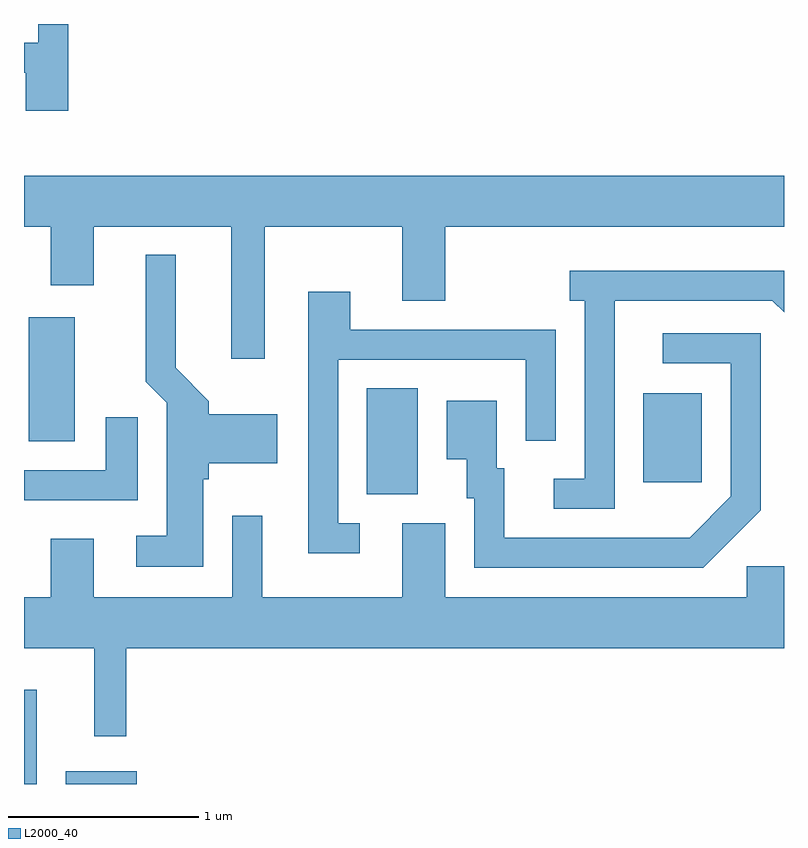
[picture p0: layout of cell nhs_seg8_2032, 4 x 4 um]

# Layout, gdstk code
import gdstk
lib = gdstk.Library(unit=1e-6, precision=1e-09)
def R(c, l, rs):  # rectangles x0, y0, x1, y1
    for r in rs: c.add(gdstk.rectangle(r[:2], r[2:], *l))
def P(c, l, *ps):  # polygons
    for p in ps: c.add(gdstk.Polygon(p, *l))
L2000_40 = (2000, 40)

nhs_seg8_2032 = lib.new_cell('nhs_seg8_2032')
R(nhs_seg8_2032, L2000_40, [(245.611,1862.342,245.679,1862.838), (245.831,1862.342,246.204,1862.409), (247.416,1863.866,247.684,1864.424), (248.871,1863.931,249.179,1864.399), (245.636,1864.146,245.879,1864.799)])
P(nhs_seg8_2032, L2000_40, [(245.844,1866.342),(245.686,1866.342),(245.686,1866.244),(245.611,1866.244),(245.611,1866.086),(245.621,1866.086),(245.621,1865.886),(245.844,1865.886)],
  [(246.879,1865.276),(247.601,1865.276),(247.601,1864.886),(247.829,1864.886),(247.829,1865.276),(249.611,1865.276),(249.611,1865.544),(245.611,1865.544),(245.611,1865.276),(245.751,1865.276),(245.751,1864.966),(245.979,1864.966),(245.979,1865.276),(246.701,1865.276),(246.701,1864.581),(246.879,1864.581)],
  [(246.554,1863.946),(246.584,1863.946),(246.584,1864.031),(246.944,1864.031),(246.944,1864.289),(246.584,1864.289),(246.584,1864.357),(246.409,1864.532),(246.409,1865.128),(246.251,1865.128),(246.251,1864.459),(246.361,1864.349),(246.361,1863.649),(246.203,1863.649),(246.203,1863.486),(246.554,1863.486)],
  [(248.719,1864.886),(249.549,1864.886),(249.611,1864.824),(249.611,1865.044),(248.483,1865.044),(248.483,1864.886),(248.561,1864.886),(248.561,1863.949),(248.398,1863.949),(248.398,1863.791),(248.719,1863.791)],
  [(247.378,1863.714),(247.264,1863.714),(247.264,1864.576),(248.251,1864.576),(248.251,1864.148),(248.409,1864.148),(248.409,1864.734),(247.329,1864.734),(247.329,1864.934),(247.106,1864.934),(247.106,1863.556),(247.378,1863.556)],
  [(249.489,1863.784),(249.489,1864.714),(248.973,1864.714),(248.973,1864.556),(249.331,1864.556),(249.331,1863.857),(249.114,1863.639),(248.139,1863.639),(248.139,1864.004),(248.099,1864.004),(248.099,1864.359),(247.836,1864.359),(247.836,1864.051),(247.941,1864.051),(247.941,1863.846),(247.981,1863.846),(247.981,1863.481),(249.187,1863.481)],
  [(246.209,1864.273),(246.041,1864.273),(246.041,1863.994),(245.611,1863.994),(245.611,1863.836),(246.209,1863.836)],
  [(246.149,1863.056),(249.611,1863.056),(249.611,1863.489),(249.416,1863.489),(249.416,1863.324),(247.829,1863.324),(247.829,1863.714),(247.601,1863.714),(247.601,1863.324),(246.864,1863.324),(246.864,1863.753),(246.706,1863.753),(246.706,1863.324),(245.979,1863.324),(245.979,1863.634),(245.751,1863.634),(245.751,1863.324),(245.611,1863.324),(245.611,1863.056),(245.981,1863.056),(245.981,1862.593),(246.149,1862.593)])

lib.write_gds('nhs_seg8_2032.gds')
